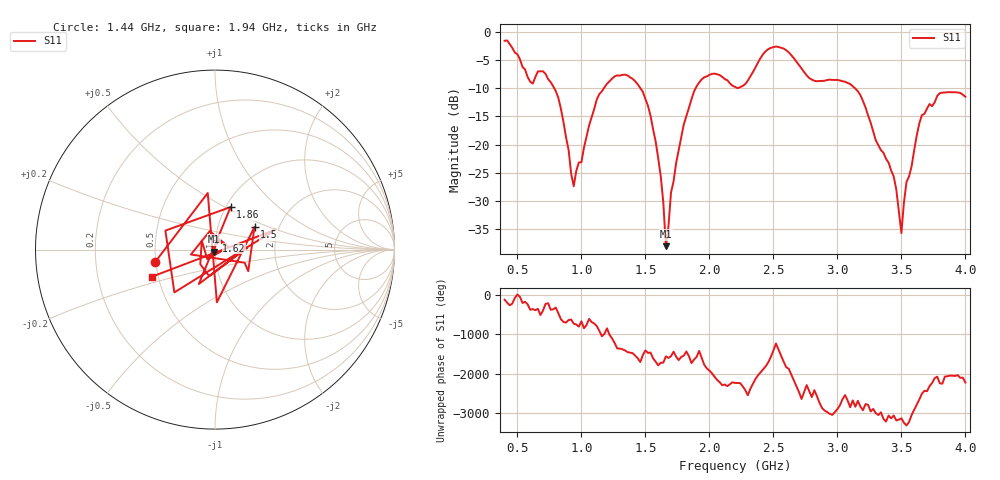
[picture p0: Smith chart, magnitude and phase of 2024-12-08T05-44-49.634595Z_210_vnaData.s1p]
!Created with skrf (http://scikit-rf.org).
# Hz S RI R 50.0
!freq ReS11 ImS11
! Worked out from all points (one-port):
!   181 points, 400 MHz to 4 GHz, reference 50 ohm
!   lowest |S11| = -38.0 dB at 1.66 GHz (marker M1), VSWR 1.03, Z = 49.4 - j1.08 ohm
!   |S11| at or under -10 dB: 787.9 MHz to 1.175 GHz (387.5 MHz wide, 39.5 % of centre); 1.461 GHz to 1.893 GHz (431.2 MHz wide, 25.7 % of centre); 3.137 GHz to end of sweep
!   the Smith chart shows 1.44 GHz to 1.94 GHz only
!   S11 on the Smith chart (normalised r, x): 1.44 GHz: 0.49, -0.08; 1.5 GHz: 1.50, +0.40; 1.62 GHz: 1.01, +0.10; 1.86 GHz: 1.05, +0.53; 1.94 GHz: 0.46, -0.16
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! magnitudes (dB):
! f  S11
! 400 MHz  -1.6
! 600 MHz  -8.8
! 720 MHz  -7.4
! 860 MHz  -16.0
! 940 MHz  -27.4
! 1.12 GHz  -12.0
! 1.3 GHz  -7.8
! 1.44 GHz  -9.3
! 1.5 GHz  -11.9
! 1.62 GHz  -25.7
! 1.66 GHz  -38.0
! 1.7 GHz  -28.5
! 1.76 GHz  -21.0
! 1.86 GHz  -12.0
! 1.94 GHz  -8.4
! 2.2 GHz  -9.8
! 2.48 GHz  -2.8
! 2.66 GHz  -4.7
! 2.82 GHz  -8.7
! 3.1 GHz  -9.3
! 3.18 GHz  -11.2
! 3.44 GHz  -25.7
! 3.5 GHz  -35.7
! 3.54 GHz  -26.6
! 3.56 GHz  -25.7
! 3.64 GHz  -16.2
! 3.72 GHz  -12.8
! 4 GHz  -11.5
